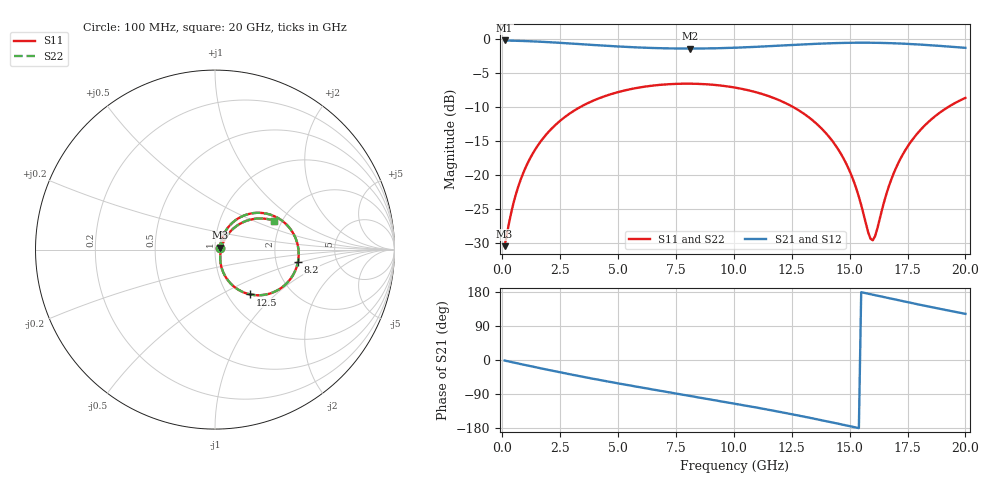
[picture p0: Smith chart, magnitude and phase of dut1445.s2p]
! Touchstone file exported from HFSS 2026.1.0
!  File:  C:/ffzhzh/LocalFiles/Ansys_Project_Files/temp_train_TSV_RDL_1445_1783358052_37376.aedt
!  Generated:  01:24:09 AM Jul  7, 2026
!  Design:  TSV_RDL
!  Project:  temp_train_TSV_RDL_1445_1783358052_37376
! Variables:
!  h_bsmrdl = 3.11um
!  h_ox = 20um
!  h_rdl = 5um
!  h_sub = 76.03um
!  h_tmrdl = 6um
!  h_tsv = 76.03um
!  h_via = 3um
!  l_bsmrdl = 767.07um
!  l_sub = 3856.33um
!  l_tmrdl = 263.49um
!  m_sub = 200um
!  pitch = 31.37um
!  r_tsv = 6um
!  s_tmrdl = 10um
!  w_bsmrdl = 11.48um
!  w_sub = 500um
!  w_tmrdl = 22.24um
!  x_tsv_center1 = 274.61um
!  x_tsv_center2 = 1053.16um
!  x_tsv_center3 = 1338.89um
!  x_tsv_center4 = 2117.44um
!  x_tsv_center5 = 2403.17um
!  x_tsv_center6 = 3181.72um
# GHz S MA R 50.000000
! Terminal data exported
! Port[1] = TM_RDL1_1_T1
! Port[2] = TM_RDL5_1_T1
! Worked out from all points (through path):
!   200 points, 100 MHz to 20 GHz, reference 50 ohm
!   highest |S21| = -0.24 dB at 100 MHz (marker M1); lowest = -1.4 dB at 8.1 GHz (marker M2)
!   group delay of S21, straight-line fit = 32.3 ps
!   lowest |S11| = -30.5 dB at 100 MHz (marker M3), VSWR 1.06, Z = 52.8 + j1.19 ohm
!   |S11| at or under -10 dB: start of sweep to 3.39 GHz; 12.54 GHz to 19.28 GHz (6.74 GHz wide, 42.4 % of centre)
!   |S22| runs from -30.5 to -6.6 dB; largest |S21 - S12| = 2.7e-14
!   S11 on the Smith chart (normalised r, x): 100 MHz: 1.06, +0.02; 8.2 GHz: 2.66, -0.46; 12.5 GHz: 1.27, -0.71; 20 GHz: 1.83, +0.68
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0.1  0.02974 22.2  0.9727 -1.4  0.9727 -1.4  0.02974 22.2
! Gamma 0 0 0 0
! Port Impedance 50 0 50 0
0.6  0.07293 57.4  0.9676 -8.1  0.9676 -8.1  0.07293 57.4
1.3  0.1415 59.6  0.9582 -17.3  0.9582 -17.3  0.1415 59.6
2.2  0.2242 52.5  0.9409 -28.8  0.9409 -28.8  0.2242 52.5
3.5  0.3236 39.3  0.9109 -44.6  0.9109 -44.6  0.3236 39.3
5.1  0.4094 22.7  0.8765 -62.8  0.8765 -62.8  0.4094 22.7
6.8  0.458 5.6  0.8531 -81.0  0.8531 -81.0  0.458 5.6
8.1  0.4675 -7.3  0.8477 -94.6  0.8477 -94.6  0.4675 -7.2
8.2  0.4672 -8.2  0.8477 -95.6  0.8477 -95.6  0.4672 -8.2
10.1  0.436 -27.1  0.8607 -115.8  0.8607 -115.8  0.436 -27.1
12.5  0.3187 -51.7  0.9006 -143.1  0.9006 -143.1  0.3187 -51.6
13.4  0.2513 -60.7  0.9165 -154.0  0.9165 -154.0  0.2513 -60.6
14.2  0.1819 -67.5  0.9279 -164.2  0.9279 -164.2  0.1819 -67.4
14.9  0.116 -70.2  0.9344 -173.2  0.9344 -173.2  0.116 -70.1
15.3  0.07787 -66.8  0.9362 -178.5  0.9362 -178.5  0.07792 -66.6
15.9  0.03378 -23.2  0.9359 173.6  0.9359 173.6  0.03393 -23.1
16.1  0.03523 9.6  0.935 171.0  0.935 171.0  0.03539 9.6
16.7  0.08259 47.1  0.93 163.1  0.93 163.1  0.08267 47.1
17.3  0.1411 49.6  0.9215 155.2  0.9215 155.2  0.1412 49.5
18  0.208 45.3  0.9081 146.2  0.9081 146.2  0.208 45.3
18.9  0.2865 37.0  0.8868 135.0  0.8868 135.0  0.2866 37.0
20  0.3675 25.9  0.8583 121.8  0.8583 121.8  0.3675 25.9
